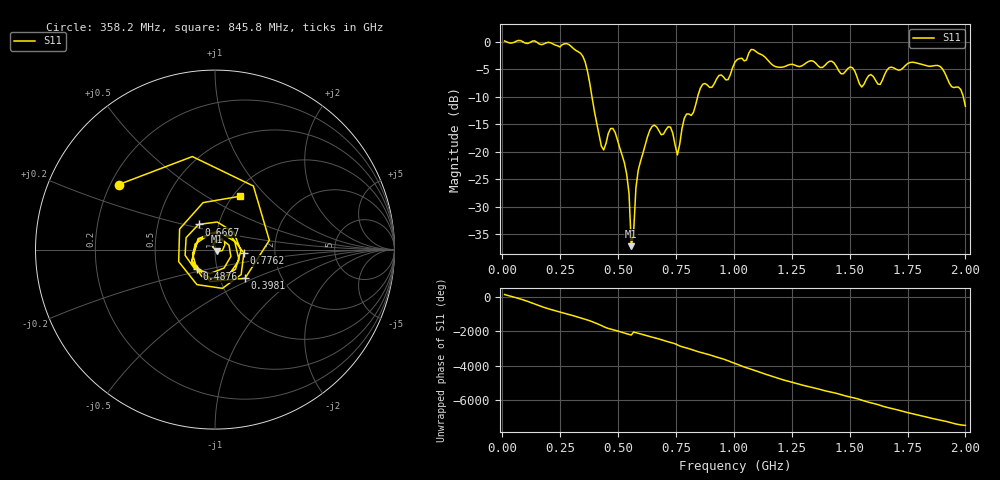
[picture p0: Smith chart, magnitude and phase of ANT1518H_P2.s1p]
!Created with skrf (http://scikit-rf.org).
# Hz S RI R 50.0
!freq ReS11 ImS11
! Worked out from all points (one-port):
!   201 points, 10 MHz to 2 GHz, reference 50 ohm
!   lowest |S11| = -37.2 dB at 557.2 MHz (marker M1), VSWR 1.03, Z = 50.9 - j1.04 ohm
!   |S11| at or under -10 dB: 387.1 MHz to 844 MHz (456.8 MHz wide, 74.2 % of centre); 1.990902 GHz to end of sweep
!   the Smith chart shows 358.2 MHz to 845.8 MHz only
!   S11 on the Smith chart (normalised r, x): 358.2 MHz: 0.23, +0.29; 398.1 MHz: 1.32, -0.45; 487.6 MHz: 0.80, -0.18; 666.7 MHz: 0.80, +0.23; 776.1 MHz: 1.38, -0.05; 845.8 MHz: 1.07, +0.72
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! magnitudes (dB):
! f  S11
! 10 MHz  0.1
! 258.8 MHz  -0.6
! 358.2 MHz  -3.8
! 398.1 MHz  -12.7
! 437.9 MHz  -19.7
! 467.7 MHz  -15.8
! 487.6 MHz  -16.5
! 507.5 MHz  -19.3
! 547.3 MHz  -27.6
! 557.2 MHz  -37.2
! 567.2 MHz  -34.6
! 577.1 MHz  -26.6
! 587.1 MHz  -23.4
! 636.9 MHz  -16.1
! 666.7 MHz  -15.5
! 726.4 MHz  -15.6
! 756.2 MHz  -20.6
! 776.1 MHz  -15.8
! 845.8 MHz  -9.7
! 975.1 MHz  -6.9
! 1.005 GHz  -3.7
! 1.075 GHz  -1.4
! 1.254 GHz  -4.2
! 1.502 GHz  -4.6
! 1.552 GHz  -8.3
! 1.751 GHz  -4.0
! 1.891 GHz  -4.5
! 2 GHz  -11.8
